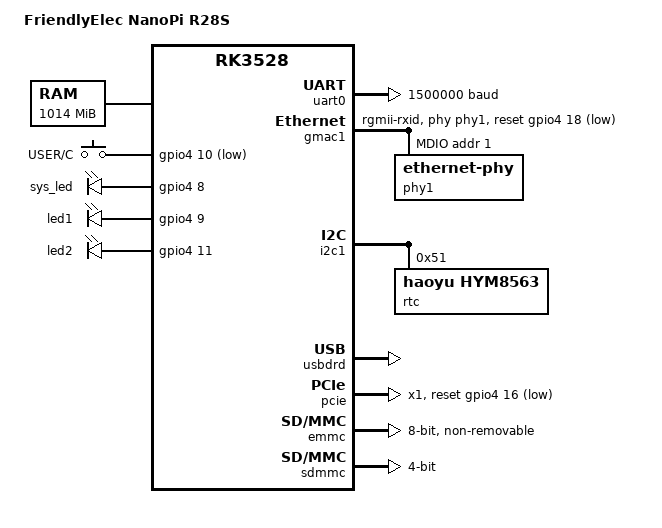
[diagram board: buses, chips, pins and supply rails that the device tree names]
// SPDX-License-Identifier: BSD-2-Clause
/*
 * Copyright (c) 2026 Hiroki Sato <hrs@FreeBSD.org>
 *
 * Base board description: memory, CPUs, interrupt controller and console.
 * UART0 retains a 24 MHz early-console clock and firmware reset state.
 * The SD card uses the firmware-enabled, always-on 3.3 V supply.
 */

/dts-v1/;

#include <dt-bindings/clock/rockchip,rk3528-cru.h>
#include <dt-bindings/gpio/gpio.h>
#include <dt-bindings/input/input.h>

/ {
	model = "FriendlyElec NanoPi R28S";
	compatible = "friendlyelec,nanopi-r28s", "rockchip,rk3528";
	#address-cells = <2>;
	#size-cells = <2>;
	interrupt-parent = <&gic>;

	aliases {
		serial0 = &uart0;
	};

	chosen {
		stdout-path = "serial0:1500000n8";
	};

	/* Exclude firmware below 2 MiB and the secure 0x08400000..0x08bfffff. */
	memory@200000 {
		device_type = "memory";
		reg = <0 0x00200000 0 0x08200000>,
		      <0 0x08c00000 0 0x37400000>;
	};

	cpus {
		#address-cells = <1>;
		#size-cells = <0>;
		cpu0: cpu@0 {
			device_type = "cpu";
			compatible = "arm,cortex-a53";
			reg = <0>;
			enable-method = "psci";
		};
		cpu1: cpu@1 {
			device_type = "cpu";
			compatible = "arm,cortex-a53";
			reg = <1>;
			enable-method = "psci";
		};
		cpu2: cpu@2 {
			device_type = "cpu";
			compatible = "arm,cortex-a53";
			reg = <2>;
			enable-method = "psci";
		};
		cpu3: cpu@3 {
			device_type = "cpu";
			compatible = "arm,cortex-a53";
			reg = <3>;
			enable-method = "psci";
		};
		cpu-map {
			cluster0 {
				core0 { cpu = <&cpu0>; };
				core1 { cpu = <&cpu1>; };
				core2 { cpu = <&cpu2>; };
				core3 { cpu = <&cpu3>; };
			};
		};
	};

	/* Cortex-A53 per-core PMU SPIs, as in the vendor board DT. */
	pmu {
		compatible = "arm,cortex-a53-pmu";
		interrupts = <0 171 4>, <0 172 4>, <0 173 4>, <0 174 4>;
		interrupt-affinity = <&cpu0>, <&cpu1>, <&cpu2>, <&cpu3>;
	};

	psci {
		compatible = "arm,psci-1.0", "arm,psci-0.2";
		method = "smc";
	};

	timer {
		compatible = "arm,armv8-timer";
		interrupts = <1 13 0xf08>, <1 14 0xf08>,
		             <1 11 0xf08>, <1 10 0xf08>;
	};

	gic: interrupt-controller@fed01000 {
		compatible = "arm,gic-400";
		#interrupt-cells = <3>;
		#address-cells = <0>;
		interrupt-controller;
		reg = <0 0xfed01000 0 0x1000>,
		      <0 0xfed02000 0 0x2000>,
		      <0 0xfed04000 0 0x2000>,
		      <0 0xfed06000 0 0x2000>;
		interrupts = <1 9 0xf08>;
	};

	uart0: serial@ff9f0000 {
		compatible = "snps,dw-apb-uart";
		reg = <0 0xff9f0000 0 0x100>;
		interrupts = <0 40 4>;
		clocks = <&cru SCLK_UART0>, <&cru PCLK_UART0>;
		clock-names = "baudclk", "apb_pclk";
		pinctrl-names = "default";
		pinctrl-0 = <&uart0_pins>;
		/* Early console runs before the clock provider attaches. */
		clock-frequency = <24000000>;
		reg-shift = <2>;
		reg-io-width = <4>;
		current-speed = <1500000>;
		status = "okay";
	};

	user_keys: gpio-keys {
		compatible = "gpio-keys";
		pinctrl-names = "default";
		pinctrl-0 = <&user_key_pin>;

		user-c {
			label = "USER/C";
			gpios = <&gpio4 10 GPIO_ACTIVE_LOW>;
			linux,code = <BTN_1>;
			debounce-interval = <50>;
			/* No autorepeat or power action; evdev button only. */
		};
	};

	leds {
		compatible = "gpio-leds";
		pinctrl-names = "default";
		pinctrl-0 = <&led_pins>;

		sys-led {
			label = "sys_led";
			gpios = <&gpio4 8 GPIO_ACTIVE_HIGH>;
			default-state = "on";
		};
		led1 {
			label = "led1";
			gpios = <&gpio4 9 GPIO_ACTIVE_HIGH>;
			default-state = "off";
		};
		led2 {
			label = "led2";
			gpios = <&gpio4 11 GPIO_ACTIVE_HIGH>;
			default-state = "off";
		};
	};

	pinctrl: pinctrl {
		compatible = "rockchip,rk3528-pinctrl";
		rockchip,grf = <&ioc>;
		#address-cells = <2>;
		#size-cells = <2>;
		ranges;

		gpio4: gpio@ffb20000 {
			compatible = "rockchip,gpio-bank";
			reg = <0 0xffb20000 0 0x200>;
			interrupts = <0 78 4>;
			clocks = <&cru PCLK_GPIO4>;
			gpio-controller;
			#gpio-cells = <2>;
			gpio-ranges = <&pinctrl 0 128 32>;
			interrupt-controller;
			#interrupt-cells = <2>;
		};

		pull_none: pull-none {
			bias-disable;
		};

		i2c1_pins: i2c1-pins {
			/* GPIO4_A3 SCL and GPIO4_A2 SDA, mux 2. */
			rockchip,pins = <4 3 2 &pull_none_smt>,
			    <4 2 2 &pull_none_smt>;
		};

		pull_none_smt: pull-none-smt {
			bias-disable;
			input-schmitt-enable;
		};

		user_key_pin: user-key-pin {
			rockchip,pins = <4 10 0 &pull_up>;
		};

		led_pins: led-pins {
			rockchip,pins = <4 8 0 &pull_none>,
			    <4 9 0 &pull_none>, <4 11 0 &pull_none>;
		};

		pull_up: pull-up {
			bias-pull-up;
		};

		uart0_pins: uart0-pins {
			/* DEBUG connector: GPIO4_C7 RX, GPIO4_D0 TX, mux 1. */
			rockchip,pins = <4 23 1 &pull_up>, <4 24 1 &pull_up>;
		};

		pull_none_drv2: pull-none-drv2 {
			bias-disable;
			drive-strength = <2>;
		};

		gmac_pins: gmac-pins {
			rockchip,pins = <3 14 2 &pull_none_drv2>,
			    <3 15 2 &pull_none_drv2>, <3 3 2 &pull_none>,
			    <3 2 2 &pull_none>, <3 18 2 &pull_none>,
			    <3 1 2 &pull_none_drv2>, <3 0 2 &pull_none_drv2>,
			    <3 16 2 &pull_none>, <3 5 2 &pull_none>,
			    <3 4 2 &pull_none_drv2>, <3 7 2 &pull_none>,
			    <3 6 2 &pull_none>, <3 9 2 &pull_none_drv2>,
			    <3 8 2 &pull_none_drv2>, <3 13 2 &pull_none_drv2>;
		};

		pcie_reset_pin: pcie-reset-pin {
			rockchip,pins = <4 16 0 &pull_none>;
		};

		gmac_reset_pin: gmac-reset-pin {
			rockchip,pins = <4 18 0 &pull_none>;
		};

		pull_up_drv2: pull-up-drv2 {
			bias-pull-up;
			drive-strength = <2>;
		};

		emmc_pins: emmc-pins {
			/* GPIO1_C4..D3 data, D4 CMD, D5 CLK, D7 strobe. */
			rockchip,pins = <1 20 1 &pull_up>, <1 21 1 &pull_up>,
			    <1 22 1 &pull_up>, <1 23 1 &pull_up>,
			    <1 24 1 &pull_up>, <1 25 1 &pull_up>,
			    <1 26 1 &pull_up>, <1 27 1 &pull_up>,
			    <1 28 1 &pull_up>, <1 29 1 &pull_none>,
			    <1 31 1 &pull_none>;
		};

		sd_pins: sd-pins {
			rockchip,pins = <2 0 1 &pull_up_drv2>,
			    <2 1 1 &pull_up_drv2>, <2 2 1 &pull_up_drv2>,
			    <2 3 1 &pull_up_drv2>, <2 4 1 &pull_up_drv2>,
			    <2 5 1 &pull_up_drv2>;
		};
	};

	soc {
		compatible = "simple-bus";
		#address-cells = <2>;
		#size-cells = <2>;
		ranges;

		grf: syscon@ff300000 {
			compatible = "syscon", "simple-mfd";
			reg = <0 0xff300000 0 0x90000>;
		};

		gmac1: ethernet@ffbe0000 {
			compatible = "rockchip,rk3528-gmac";
			reg = <0 0xffbe0000 0 0x10000>;
			interrupts = <0 121 4>;
			rockchip,grf = <&grf>;
			clocks = <&cru CLK_GMAC1_SRC_VPU>,
			    <&cru PCLK_MAC_VPU>, <&cru ACLK_MAC_VPU>;
			clock-names = "stmmaceth", "pclk_mac", "aclk_mac";
			/* Raw index in this FreeBSD prototype CRU binding only. */
			resets = <&cru 453>;
			reset-names = "stmmaceth";
			phy-mode = "rgmii-rxid";
			clock_in_out = "output";
			tx_delay = <0x30>;
			/* Updated in place from public OTP ID before GMAC attach. */
			local-mac-address = [00 00 00 00 00 00];
			snps,mixed-burst;
			snps,pbl = <8>;
			phy-handle = <&phy1>;
			status = "okay";
			/* PHY supply is enabled by the boot firmware. */
			pinctrl-names = "default";
			pinctrl-0 = <&gmac_pins &gmac_reset_pin>;
			snps,reset-gpio = <&gpio4 18 GPIO_ACTIVE_LOW>;
			snps,reset-active-low;
			snps,reset-delays-us = <0 20000 100000>;
			mdio {
				compatible = "snps,dwmac-mdio";
				#address-cells = <1>;
				#size-cells = <0>;
				phy1: ethernet-phy@1 {
					reg = <1>;
				};
			};
		};

		otp_trim: otp@ffce0000 {
			compatible = "freebsd,rk3528-r28s-otp-trim";
			freebsd,board-identity;
			freebsd,identity-gmac = <&gmac1>;
			reg = <0 0xffce0000 0 0x4000>;
			clocks = <&cru PCLK_OTPC_NS>, <&cru CLK_SBPI_OTPC_NS>,
			    <&cru CLK_USER_OTPC_NS>;
			clock-names = "apb", "sbpi", "usr";
			#address-cells = <1>;
			#size-cells = <1>;

			tsadc_trim_l: trim-l@44 {
				reg = <0x44 1>;
			};
			tsadc_trim_h: trim-h@45 {
				reg = <0x45 1>;
			};
		};

		tsadc: tsadc@ffad0000 {
			compatible = "freebsd,rk3528-r28s-tsadc";
			reg = <0 0xffad0000 0 0x400>;
			rockchip,grf = <&grf>;
			clocks = <&cru PCLK_TSADC>, <&cru CLK_TSADC>,
			    <&cru CLK_TSADC_TSEN>;
			clock-names = "apb_pclk", "tsadc", "tsadc_tsen";
			resets = <&cru 526>, <&cru 527>;
			nvmem-cells = <&tsadc_trim_l>, <&tsadc_trim_h>;
			nvmem-cell-names = "trim_l", "trim_h";
			freebsd,require-otp-trim;
			rockchip,hw-tshut-temp = <120000>;
			rockchip,hw-tshut-mode = <0>;
			rockchip,hw-tshut-polarity = <0>;
		};

		wdt: watchdog@ffac0000 {
			compatible = "freebsd,rk3528-r28s-wdt";
			reg = <0 0xffac0000 0 0x100>;
			clocks = <&cru TCLK_WDT_NS>, <&cru PCLK_WDT_NS>;
			clock-names = "tclk", "pclk";
			resets = <&cru 159>, <&cru 160>;
		};

		/* Firmware SCMI mailbox lies below the usable RAM banks. */
		scmi_shmem: scmi-shmem@10f000 {
			compatible = "arm,scmi-shmem";
			reg = <0 0x0010f000 0 0x100>;
		};

		scmi {
			compatible = "arm,scmi-smc";
			shmem = <&scmi_shmem>;
			arm,smc-id = <0x82000010>;
			#address-cells = <1>;
			#size-cells = <0>;

			scmi_clocks: protocol@14 {
				reg = <0x14>;
				#clock-cells = <1>;
			};
		};

		crypto@ffc40000 {
			compatible = "rockchip,crypto-v4";
			reg = <0 0xffc40000 0 0x2000>;
			interrupts = <0 19 4>;
			clocks = <&scmi_clocks SCMI_ACLK_CRYPTO>,
			    <&scmi_clocks SCMI_HCLK_CRYPTO>,
			    <&scmi_clocks SCMI_CORE_CRYPTO>;
			clock-names = "aclk", "hclk", "sclk";
			resets = <&cru 58>;
			reset-names = "crypto-rst";
		};

		rng@ffc50000 {
			compatible = "rockchip,rk3528-rkrng", "rockchip,rkrng";
			reg = <0 0xffc50000 0 0x200>;
			clocks = <&scmi_clocks SCMI_HCLK_TRNG>;
			clock-names = "hclk_trng";
		};

		ioc: syscon@ff540000 {
			compatible = "rockchip,rk3528-ioc-grf", "syscon";
			reg = <0 0xff540000 0 0x40000>;
		};

		cru: clock-controller@ff4a0000 {
			/* eMMC mode retains existing clocks and the crypto reset. */
			compatible = "freebsd,rk3528-r28s-emmc-cru";
			reg = <0 0xff4a0000 0 0x21000>;
			#clock-cells = <1>;
			#reset-cells = <1>;
		};

		i2c1: i2c@ffa58000 {
			compatible = "rockchip,rk3528-i2c";
			reg = <0 0xffa58000 0 0x1000>;
			interrupts = <0 62 4>;
			clocks = <&cru CLK_I2C1>, <&cru PCLK_I2C1>;
			clock-names = "i2c", "pclk";
			pinctrl-names = "default";
			pinctrl-0 = <&i2c1_pins>;
			#address-cells = <1>;
			#size-cells = <0>;

			rtc@51 {
				compatible = "haoyu,hym8563";
				reg = <0x51>;
				#clock-cells = <0>;
			};
		};

		usb2phy: usb2-phy@ffdf0000 {
			compatible = "freebsd,rk3528-r28s-usb2phy";
			reg = <0 0xffdf0000 0 0x10000>;
			clocks = <&cru CLK_REF_USBPHY>, <&cru PCLK_USBPHY>;
			clock-names = "phyclk", "apb_pclk";
			rockchip,usbgrf = <&grf>;
			u2phy_otg: otg-port {
				#phy-cells = <0>;
			};
		};
		usbdrd {
			compatible = "rockchip,rk3528-dwc3", "rockchip,rk3399-dwc3";
			#address-cells = <2>;
			#size-cells = <2>;
			ranges;
			clocks = <&cru CLK_REF_USB3OTG>, <&cru CLK_SUSPEND_USB3OTG>,
			    <&cru ACLK_USB3OTG>;
			clock-names = "ref_clk", "suspend_clk", "bus_clk";
			resets = <&cru 529>;
			reset-names = "usb3-otg";
			dwc3@fe500000 {
				compatible = "snps,dwc3";
				reg = <0 0xfe500000 0 0x400000>;
				interrupts = <0 152 4>;
				dr_mode = "host";
				maximum-speed = "high-speed";
				phys = <&u2phy_otg>;
				phy-names = "usb2-phy";
				phy_type = "utmi_wide";
				snps,dis_enblslpm_quirk;
				snps,dis_u2_susphy_quirk;
				snps,dis-u2-freeclk-exists-quirk;
				snps,dis-del-phy-power-chg-quirk;
				snps,dis-tx-ipgap-linecheck-quirk;
				snps,dis_rxdet_inp3_quirk;
			};
		};

		pcie: pcie@fe000000 {
			compatible = "freebsd,rk3528-r28s-pcie";
			device_type = "pci";
			#address-cells = <3>;
			#size-cells = <2>;
			#interrupt-cells = <1>;
			reg = <0 0xfe000000 0 0x400000>,
			    <0 0xfe4f0000 0 0x10000>,
			    <0 0xfc000000 0 0x100000>,
			    <0 0xffdc0000 0 0x1000>;
			reg-names = "dbi", "apb", "config", "phy";
			rockchip,grf = <&grf>;
			pinctrl-names = "default";
			pinctrl-0 = <&pcie_reset_pin>;
			reset-gpios = <&gpio4 16 GPIO_ACTIVE_LOW>;
			bus-range = <0 255>;
			num-lanes = <1>;
			ranges = <0x81000000 0 0xfc100000 0 0xfc100000 0 0x100000>,
			    <0x82000000 0 0xfc200000 0 0xfc200000 0 0x1e00000>;
			/* One soldered endpoint on INTA; no MSI provider. */
			interrupt-map-mask = <0 0 0 7>;
			interrupt-map = <0 0 0 1 &gic 0 155 4>;
			clocks = <&cru PCLK_GPIO4>, <&cru ACLK_PCIE>,
			    <&cru HCLK_PCIE_SLV>, <&cru HCLK_PCIE_DBI>,
			    <&cru PCLK_CRU_PCIE>, <&cru CLK_PCIE_AUX>,
			    <&cru PCLK_PCIE>, <&cru PCLK_PCIE_PHY>,
			    <&cru PCLK_PIPE_GRF>, <&cru CLK_REF_PCIE_INNER_PHY>;
			clock-names = "gpio", "aclk", "hclk_slv", "hclk_dbi",
			    "pclk_cru", "aux", "pclk", "phy_apb", "pipe_grf", "refclk";
			assigned-clocks = <&cru CLK_REF_PCIE_INNER_PHY>;
			assigned-clock-parents = <&cru CLK_PPLL_100M_MATRIX>;
			resets = <&cru 481>, <&cru 483>, <&cru 486>, <&cru 482>;
			reset-names = "periph", "power_up", "phy_apb", "phy";
			/* The shared Naneng lane is dedicated to the RTL8111H. */
			status = "okay";
		};

		emmc: mmc@ffbf0000 {
			compatible = "rockchip,rk3528-dwcmshc";
			reg = <0 0xffbf0000 0 0x10000>;
			interrupts = <0 136 4>;
			clocks = <&cru CCLK_SRC_EMMC>, <&cru HCLK_EMMC>,
			    <&cru ACLK_EMMC>, <&cru BCLK_EMMC>, <&cru TCLK_EMMC>;
			clock-names = "core", "bus", "axi", "block", "timer";
			resets = <&cru 415>, <&cru 416>, <&cru 417>,
			    <&cru 418>, <&cru 419>;
			reset-names = "core", "bus", "axi", "block", "timer";
			pinctrl-names = "default";
			pinctrl-0 = <&emmc_pins>;
			rockchip,ioc = <&ioc>;
			/* Fixed VCC=3.3V and VCCQ=1.8V; no rail switching. */
			bus-width = <8>;
			max-frequency = <49500000>;
			freebsd,use-sdma;
			freebsd,use-hs-sdr;
			freebsd,use-ddr52;
			no-sd;
			no-sdio;
			non-removable;
			disable-wp;
			status = "okay";
		};

		sdmmc: mmc@ffc30000 {
			compatible = "rockchip,rk3528-dw-mshc",
			    "rockchip,rk3288-dw-mshc";
			reg = <0 0xffc30000 0 0x4000>;
			interrupts = <0 133 4>;
			clocks = <&cru HCLK_SDMMC0>, <&cru CCLK_SRC_SDMMC0>;
			clock-names = "biu", "ciu";
			pinctrl-names = "default";
			pinctrl-0 = <&sd_pins>;
			fifo-depth = <256>;
			bus-width = <4>;
			max-frequency = <25000000>;
			disable-wp;
			status = "okay";
		};
	};
};
